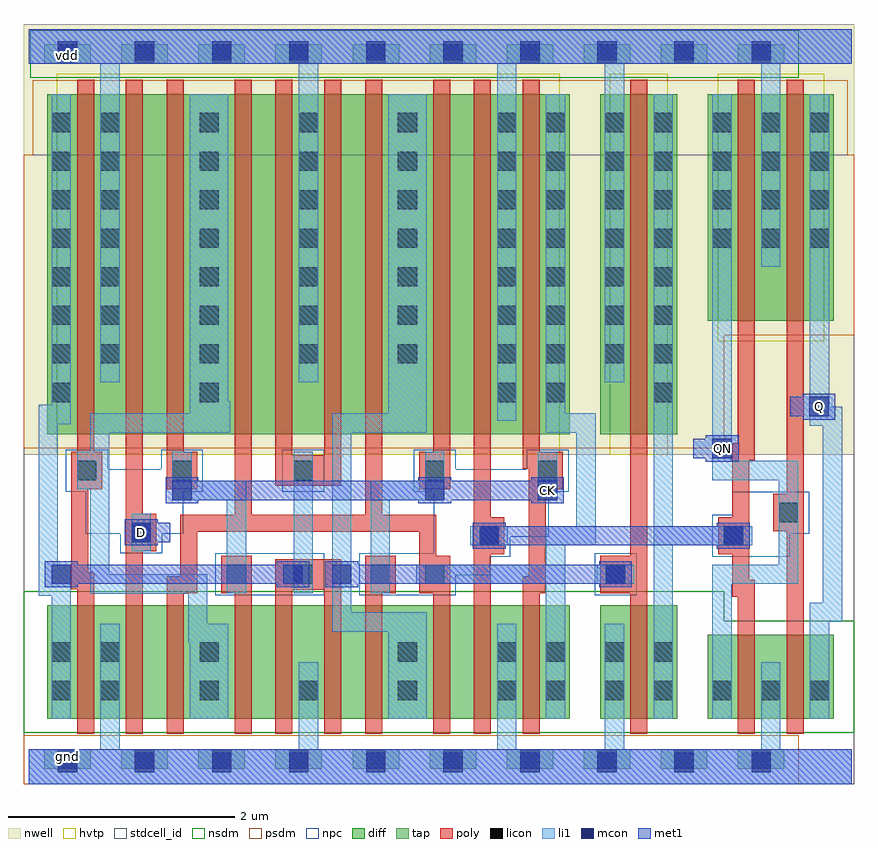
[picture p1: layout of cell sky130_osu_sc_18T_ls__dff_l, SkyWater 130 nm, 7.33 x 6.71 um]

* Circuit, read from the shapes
.subckt sky130_osu_sc_18T_ls__dff_l CK D Q QN gnd vdd
XM1 gnd n1 n2 gnd sky130_fd_pr__nfet_01v8 w=1 l=0.15
XM2 n3 D gnd gnd sky130_fd_pr__nfet_01v8 w=1 l=0.15
XM3 n1 n4 n3 gnd sky130_fd_pr__nfet_01v8 w=1 l=0.15
XM4 n5 CK n1 gnd sky130_fd_pr__nfet_01v8 w=1 l=0.15
XM5 gnd n2 n5 gnd sky130_fd_pr__nfet_01v8 w=1 l=0.15
XM6 n6 n2 gnd gnd sky130_fd_pr__nfet_01v8 w=1 l=0.15
XM7 n7 CK n6 gnd sky130_fd_pr__nfet_01v8 w=1 l=0.15
XM8 n8 n4 n7 gnd sky130_fd_pr__nfet_01v8 w=1 l=0.15
XM9 gnd n9 n8 gnd sky130_fd_pr__nfet_01v8 w=1 l=0.15
XM10 n4 CK gnd gnd sky130_fd_pr__nfet_01v8 w=1 l=0.15
XM11 n9 n7 gnd gnd sky130_fd_pr__nfet_01v8 w=1 l=0.15
XM12 gnd n9 QN gnd sky130_fd_pr__nfet_01v8 w=0.74 l=0.15
XM13 Q QN gnd gnd sky130_fd_pr__nfet_01v8 w=0.74 l=0.15
XM14 vdd n1 n2 vdd sky130_fd_pr__pfet_01v8_hvt w=3 l=0.15
XM15 n10 D vdd vdd sky130_fd_pr__pfet_01v8_hvt w=3 l=0.15
XM16 n1 CK n10 vdd sky130_fd_pr__pfet_01v8_hvt w=3 l=0.15
XM17 n11 n4 n1 vdd sky130_fd_pr__pfet_01v8_hvt w=3 l=0.15
XM18 vdd n2 n11 vdd sky130_fd_pr__pfet_01v8_hvt w=3 l=0.15
XM19 n12 n2 vdd vdd sky130_fd_pr__pfet_01v8_hvt w=3 l=0.15
XM20 n7 n4 n12 vdd sky130_fd_pr__pfet_01v8_hvt w=3 l=0.15
XM21 n13 CK n7 vdd sky130_fd_pr__pfet_01v8_hvt w=3 l=0.15
XM22 vdd n9 n13 vdd sky130_fd_pr__pfet_01v8_hvt w=3 l=0.15
XM23 n4 CK vdd vdd sky130_fd_pr__pfet_01v8_hvt w=3 l=0.15
XM24 n9 n7 vdd vdd sky130_fd_pr__pfet_01v8_hvt w=3 l=0.15
XM25 vdd n9 QN vdd sky130_fd_pr__pfet_01v8_hvt w=2 l=0.15
XM26 Q QN vdd vdd sky130_fd_pr__pfet_01v8_hvt w=2 l=0.15
.ends

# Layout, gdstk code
import gdstk
lib = gdstk.Library(unit=1e-6, precision=1e-09)
def R(c, l, rs):  # rectangles x0, y0, x1, y1
    for r in rs: c.add(gdstk.rectangle(r[:2], r[2:], *l))
def A(c, l, x, y, w, h, nx, ny, dx, dy):  # array of equal rectangles
    R(c, l, [(x+i*dx, y+j*dy, x+i*dx+w, y+j*dy+h) for i in range(nx) for j in range(ny)])
nwell = (64, 20)
diff = (65, 20)
tap = (65, 44)
poly = (66, 20)
licon = (66, 44)
li1 = (67, 20)
mcon = (67, 44)
met1 = (68, 20)
hvtp = (78, 44)
stdcell_id = (81, 4)
nsdm = (93, 44)
psdm = (94, 20)
npc = (95, 20)

sky130_osu_sc_18t_ls__df = lib.new_cell('sky130_osu_sc_18T_ls__dff_l')
R(sky130_osu_sc_18t_ls__df, nwell, [(-0.045,2.905,7.28,6.705)])
R(sky130_osu_sc_18t_ls__df, diff, [(0.16,0.575,4.77,1.575), (5.04,0.575,5.72,1.575), (5.99,0.575,7.1,1.315), (0.16,3.085,4.77,6.085), (5.04,3.085,5.72,6.085), (5.99,4.085,7.1,6.085)])
A(sky130_osu_sc_18t_ls__df, tap, 0.135, 0.135, 0.41, 0.17, 10, 2, 0.68, 6.22)
R(sky130_osu_sc_18t_ls__df, poly, [(0.425,0.445,0.575,1.72), (0.855,0.445,1.005,2.055), (1.215,0.445,1.365,1.685), (1.815,0.445,1.965,1.685), (2.175,0.445,2.325,1.715), (2.605,0.445,2.755,1.715), (2.965,0.445,3.115,1.685), (3.565,0.445,3.715,1.685), (3.925,0.445,4.075,2.025), (4.355,0.445,4.505,1.685), (5.305,0.445,5.455,1.685), (6.255,0.445,6.405,1.65), (6.685,0.445,6.835,2.23), (6.205,1.65,6.405,1.8), (1.215,1.685,1.485,1.835), (1.695,1.685,1.965,2.015), (2.965,1.685,3.235,2.015), (3.445,1.685,3.715,2.015), (4.355,1.685,4.56,1.835), (5.04,1.685,5.455,2.015), (2.175,1.715,2.755,1.985), (0.375,1.72,0.575,1.87), (6.205,1.8,6.355,2.025), (1.335,1.835,1.485,2.225), (4.41,1.835,4.56,2.6), (0.375,1.87,0.525,2.6), (3.445,2.015,3.595,2.225), (5.305,2.015,5.455,6.215), (3.925,2.025,4.195,2.355), (6.08,2.025,6.355,2.355), (0.855,2.055,1.125,2.385), (1.335,2.225,3.595,2.375), (6.565,2.23,6.835,2.56), (3.925,2.355,4.075,6.215), (6.205,2.355,6.355,2.855), (1.815,2.375,1.965,6.215), (2.965,2.375,3.115,6.215), (0.855,2.385,1.005,6.215), (6.685,2.56,6.835,6.215), (0.375,2.6,0.645,2.93), (1.215,2.6,1.485,2.93), (3.445,2.6,3.715,2.93), (4.41,2.6,4.71,2.78), (2.175,2.63,2.755,2.9), (4.355,2.78,4.71,2.93), (6.205,2.855,6.405,3.005), (2.175,2.9,2.325,6.215), (2.605,2.9,2.755,6.215), (0.425,2.93,0.575,6.215), (1.215,2.93,1.365,6.215), (3.565,2.93,3.715,6.215), (4.355,2.93,4.505,6.215), (6.255,3.005,6.405,6.215)])
A(sky130_osu_sc_18t_ls__df, licon, 0.255, 0.135, 0.17, 0.17, 10, 2, 0.68, 6.22)
A(sky130_osu_sc_18t_ls__df, licon, 0.63, 0.74, 0.17, 0.17, 5, 2, 0.875, 2.97)
A(sky130_osu_sc_18t_ls__df, licon, 6.03, 0.74, 0.17, 0.17, 3, 2, 0.43, 3.99)
A(sky130_osu_sc_18t_ls__df, licon, 0.2, 3.37, 0.17, 0.17, 1, 8, 0, 0.34)
A(sky130_osu_sc_18t_ls__df, licon, 4.56, 3.37, 0.17, 0.17, 1, 8, 0, 0.34)
A(sky130_osu_sc_18t_ls__df, licon, 5.51, 3.37, 0.17, 0.17, 1, 8, 0, 0.34)
A(sky130_osu_sc_18t_ls__df, licon, 5.08, 3.71, 0.17, 0.17, 1, 7, 0, 0.34)
A(sky130_osu_sc_18t_ls__df, licon, 0.63, 4.05, 0.17, 0.17, 5, 6, 0.875, 0.34)
A(sky130_osu_sc_18t_ls__df, licon, 6.03, 5.07, 0.17, 0.17, 3, 3, 0.43, 0.34)
R(sky130_osu_sc_18t_ls__df, licon, [(0.2,0.74,0.37,0.91), (4.56,0.74,4.73,0.91), (5.08,0.74,5.25,0.91), (5.51,0.74,5.68,0.91), (0.2,1.08,0.37,1.25), (0.63,1.08,0.8,1.25), (1.505,1.08,1.675,1.25), (3.255,1.08,3.425,1.25), (4.13,1.08,4.3,1.25), (4.56,1.08,4.73,1.25), (5.08,1.08,5.25,1.25), (5.51,1.08,5.68,1.25), (1.745,1.765,1.915,1.935), (2.335,1.765,2.505,1.935), (3.015,1.765,3.185,1.935), (3.495,1.765,3.665,1.935), (5.09,1.765,5.26,1.935), (3.975,2.105,4.145,2.275), (6.13,2.105,6.3,2.275), (0.905,2.135,1.075,2.305), (6.615,2.31,6.785,2.48), (0.425,2.68,0.595,2.85), (1.265,2.68,1.435,2.85), (2.335,2.68,2.505,2.85), (3.495,2.68,3.665,2.85), (4.49,2.68,4.66,2.85), (1.505,3.37,1.675,3.54), (4.13,3.37,4.3,3.54)])
R(sky130_osu_sc_18t_ls__df, li1, [(0,0,7.26,0.305), (0.63,0.305,0.8,1.415), (2.38,0.305,2.55,1.075), (4.13,0.305,4.3,1.415), (5.08,0.305,5.25,1.415), (6.46,0.305,6.63,1.075), (0.2,0.575,0.37,1.66), (1.42,0.575,1.76,1.245), (3.17,0.575,3.51,1.345), (4.56,0.575,4.73,1.765), (5.51,0.575,5.68,2.105), (6.03,0.575,6.2,1.765), (6.89,0.575,7.06,1.43), (1.405,1.245,1.76,1.415), (2.675,1.345,3.51,1.515), (1.405,1.415,1.575,1.68), (6.89,1.43,7.175,1.6), (2.675,1.515,2.845,3.1), (7.005,1.6,7.175,3.16), (0.085,1.66,0.37,1.935), (0.54,1.68,1.575,1.85), (1.745,1.685,1.915,2.505), (2.335,1.685,2.505,1.765), (3.015,1.685,3.185,2.505), (2.245,1.765,2.505,1.935), (3.415,1.765,4.73,1.935), (5.01,1.765,5.34,1.935), (6.03,1.765,6.785,1.935), (0.54,1.85,0.71,2.6), (0.085,1.935,0.255,3.175), (2.335,1.935,2.505,2.93), (4.56,1.935,4.73,2.105), (6.615,1.935,6.785,2.68), (0.905,2.055,1.075,2.385), (3.895,2.105,4.225,2.275), (4.56,2.105,5,2.275), (5.51,2.105,6.38,2.275), (4.83,2.275,5,3.1), (5.51,2.275,5.68,6.085), (1.265,2.505,1.915,2.675), (3.015,2.505,3.665,2.675), (4.49,2.505,4.66,2.93), (0.425,2.6,0.71,2.93), (1.265,2.675,1.435,2.93), (3.495,2.675,3.665,2.93), (6.03,2.68,6.785,2.85), (6.03,2.85,6.2,6.085), (0.54,2.93,0.71,3.1), (0.54,3.1,1.775,3.27), (2.675,3.1,3.51,3.27), (4.56,3.1,5,3.27), (6.89,3.16,7.175,3.245), (0.085,3.175,0.37,3.345), (4.13,3.205,4.3,6.355), (6.885,3.245,7.175,3.33), (1.42,3.27,1.775,3.375), (3.17,3.27,3.51,6.085), (4.56,3.27,4.73,6.085), (6.885,3.33,7.06,3.415), (0.2,3.345,0.37,6.085), (1.42,3.375,1.76,6.085), (6.89,3.415,7.06,6.085), (0.63,3.545,0.8,6.355), (2.38,3.545,2.55,6.355), (5.08,3.545,5.25,6.355), (6.46,4.565,6.63,6.355), (0,6.355,7.26,6.66)])
A(sky130_osu_sc_18t_ls__df, mcon, 0.255, 0.105, 0.17, 0.17, 10, 2, 0.68, 6.28)
R(sky130_osu_sc_18t_ls__df, mcon, [(0.2,1.765,0.37,1.935), (2.245,1.765,2.415,1.935), (2.675,1.765,2.845,1.935), (5.09,1.765,5.26,1.935), (3.975,2.105,4.145,2.275), (6.13,2.105,6.3,2.275), (0.905,2.135,1.075,2.305), (1.265,2.505,1.435,2.675), (3.495,2.505,3.665,2.675), (4.49,2.505,4.66,2.675), (6.03,2.875,6.2,3.045), (6.885,3.245,7.055,3.415)])
R(sky130_osu_sc_18t_ls__df, met1, [(0,0,7.26,0.305), (0.14,1.735,0.43,1.765), (2.185,1.735,2.475,1.765), (2.615,1.735,2.905,1.765), (5.03,1.735,5.32,1.765), (0.14,1.765,2.475,1.935), (2.615,1.765,5.32,1.935), (0.14,1.935,0.43,1.965), (2.185,1.935,2.475,1.965), (2.615,1.935,2.905,1.965), (5.03,1.935,5.32,1.965), (3.915,2.075,4.205,2.105), (6.07,2.075,6.36,2.105), (0.845,2.105,1.135,2.135), (3.915,2.105,6.36,2.275), (0.845,2.135,1.245,2.305), (3.915,2.275,4.205,2.305), (6.07,2.275,6.36,2.305), (0.845,2.305,1.135,2.335), (1.205,2.475,1.495,2.505), (3.435,2.475,3.725,2.505), (4.43,2.475,4.72,2.505), (1.205,2.505,4.72,2.675), (1.205,2.675,1.495,2.705), (3.435,2.675,3.725,2.705), (4.43,2.675,4.72,2.705), (5.97,2.845,6.26,2.875), (5.86,2.875,6.26,3.045), (5.97,3.045,6.26,3.075), (6.825,3.215,7.115,3.245), (6.715,3.245,7.115,3.415), (6.825,3.415,7.115,3.445), (0,6.355,7.26,6.66)])
R(sky130_osu_sc_18t_ls__df, hvtp, [(0.245,2.905,4.685,6.265), (5.125,2.905,5.635,6.265), (6.075,3.905,7.015,6.265)])
R(sky130_osu_sc_18t_ls__df, stdcell_id, [(-0.045,0,7.28,5.55)])
R(sky130_osu_sc_18t_ls__df, nsdm, [(-0.045,0.45,7.28,1.44), (-0.045,1.44,6.135,1.7), (0.01,6.23,6.79,6.65)])
R(sky130_osu_sc_18t_ls__df, psdm, [(-0.045,0,6.79,0.43), (-0.045,2.96,6.135,3.96), (-0.045,3.96,7.28,5.55), (0.035,5.55,7.225,6.21)])
R(sky130_osu_sc_18t_ls__df, npc, [(1.645,1.665,2.605,2.035), (2.915,1.665,3.765,1.84), (4.99,1.665,5.36,2.035), (2.915,1.84,4.07,2.005), (2.915,2.005,4.245,2.035), (6.03,2.005,6.71,2.21), (0.805,2.035,1.175,2.21), (3.57,2.035,4.245,2.18), (3.57,2.18,4.585,2.58), (0.5,2.21,1.36,2.58), (6.03,2.21,6.885,2.375), (6.205,2.375,6.885,2.58), (0.325,2.58,1.535,2.775), (2.235,2.58,2.605,2.95), (3.395,2.58,4.76,2.775), (0.325,2.775,0.695,2.95), (1.165,2.775,1.535,2.95), (3.395,2.775,3.765,2.95), (4.39,2.775,4.76,2.95)])
sky130_osu_sc_18t_ls__df.add(gdstk.Label('gnd', (0.34,0.245), layer=68, texttype=16))
sky130_osu_sc_18t_ls__df.add(gdstk.Label('vdd', (0.34,6.425), layer=68, texttype=16))
sky130_osu_sc_18t_ls__df.add(gdstk.Label('D', (0.99,2.22), layer=68, texttype=5))
sky130_osu_sc_18t_ls__df.add(gdstk.Label('Q', (6.97,3.33), layer=68, texttype=5))
sky130_osu_sc_18t_ls__df.add(gdstk.Label('QN', (6.12,2.96), layer=68, texttype=5))
sky130_osu_sc_18t_ls__df.add(gdstk.Label('CK', (4.575,2.59), layer=68, texttype=5))

lib.write_gds('sky130_osu_sc_18T_ls__dff_l.gds')
